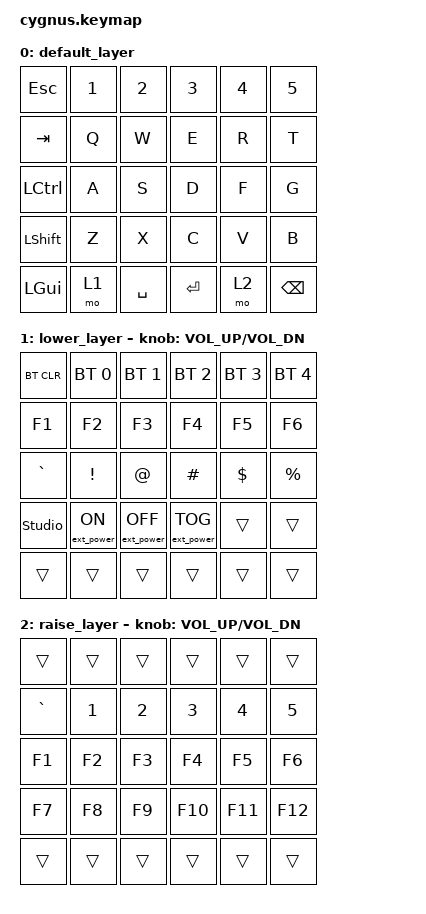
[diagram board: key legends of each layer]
/*
 * Copyright (c) 2020 The ZMK Contributors
 *
 * SPDX-License-Identifier: MIT
 */

#include <behaviors.dtsi>
#include <dt-bindings/zmk/bt.h>
#include <dt-bindings/zmk/ext_power.h>
#include <dt-bindings/zmk/keys.h>

/ {
    keymap {
        compatible = "zmk,keymap";

        default_layer {
            // ------------------------------------------------------------------------------------------------------------
            // |  ESC  |  1  |  2  |  3   |  4   |  5   |                   |  6   |  7    |  8    |  9   |   0   |   `   |
            // |  TAB  |  Q  |  W  |  E   |  R   |  T   |                   |  Y   |  U    |  I    |  O   |   P   |   -   |
            // |  CTRL |  A  |  S  |  D   |  F   |  G   |                   |  H   |  J    |  K    |  L   |   ;   |   '   |
            // | SHIFT |  Z  |  X  |  C   |  V   |  B   |   "["  |  |  "]"  |  N   |  M    |  ,    |  .   |   /   | SHIFT |
            //                     | ALT  | GUI  | LOWER|  SPACE |  | ENTER | RAISE| BSPC  | GUI   |

            bindings = <
&kp ESC &kp N1 &kp N2 &kp N3 &kp N4 &kp N5
&kp TAB &kp Q &kp W &kp E &kp R &kp T
&kp LCTRL &kp A &kp S &kp D &kp F &kp G
&kp LSHFT &kp Z &kp X &kp C &kp V &kp B
&kp LGUI &mo 1 &kp SPACE &kp RET &mo 2 &kp BSPC
            >;
        };

        lower_layer {
            // ------------------------------------------------------------------------------------------------------------
            // | BTCLR | BT1 | BT2 |  BT3 |  BT4 |  BT5 |                   |      |       |       |      |       |       |
            // |  F1   |  F2 |  F3 |  F4  |  F5  |  F6  |                   |  F7  |  F8   |  F9   |  F10 |  F11  |  F12  |
            // |   `   |  !  |  @  |  #   |  $   |  %   |                   |  ^   |  &    |  *    |  (   |   )   |   ~   |
            // |       |     |     |      |      |      |        |  |       |      |  _    |  +    |  {   |   }   |  "|"  |
            //                     |      |      |      |        |  |       |      |       |       |

            bindings = <
&bt BT_CLR &bt BT_SEL 0 &bt BT_SEL 1 &bt BT_SEL 2 &bt BT_SEL 3 &bt BT_SEL 4
&kp F1 &kp F2 &kp F3 &kp F4 &kp F5 &kp F6
&kp GRAVE &kp EXCL &kp AT &kp HASH &kp DOLLAR &kp PRCNT
&studio_unlock &ext_power EP_ON &ext_power EP_OFF &ext_power EP_TOG &trans &trans
&trans &trans &trans &trans &trans &trans
            >;

            sensor-bindings = <&inc_dec_kp C_VOL_UP C_VOL_DN>;
        };

        raise_layer {
            // ------------------------------------------------------------------------------------------------------------
            // |       |     |     |      |      |      |                   |      |       |       |      |       |       |
            // |   `   |  1  |  2  |  3   |  4   |  5   |                   |  6   |   7   |   8   |  9   |   0   |       |
            // |   F1  |  F2 |  F3 |  F4  |  F5  |  F6  |                   |      |   <-  |   v   |  ^   |  ->   |       |
            // |   F7  |  F8 |  F9 |  F10 |  F11 |  F12 |        |  |       |  +   |   -   |   =   |  [   |   ]   |   \   |
            //                     |      |      |      |        |  |       |      |       |       |

            bindings = <
&trans &trans &trans &trans &trans &trans
&kp GRAVE &kp N1 &kp N2 &kp N3 &kp N4 &kp N5
&kp F1 &kp F2 &kp F3 &kp F4 &kp F5 &kp F6
&kp F7 &kp F8 &kp F9 &kp F10 &kp F11 &kp F12
&trans &trans &trans &trans &trans &trans
            >;

            sensor-bindings = <&inc_dec_kp C_VOL_UP C_VOL_DN>;
        };
    };
};
